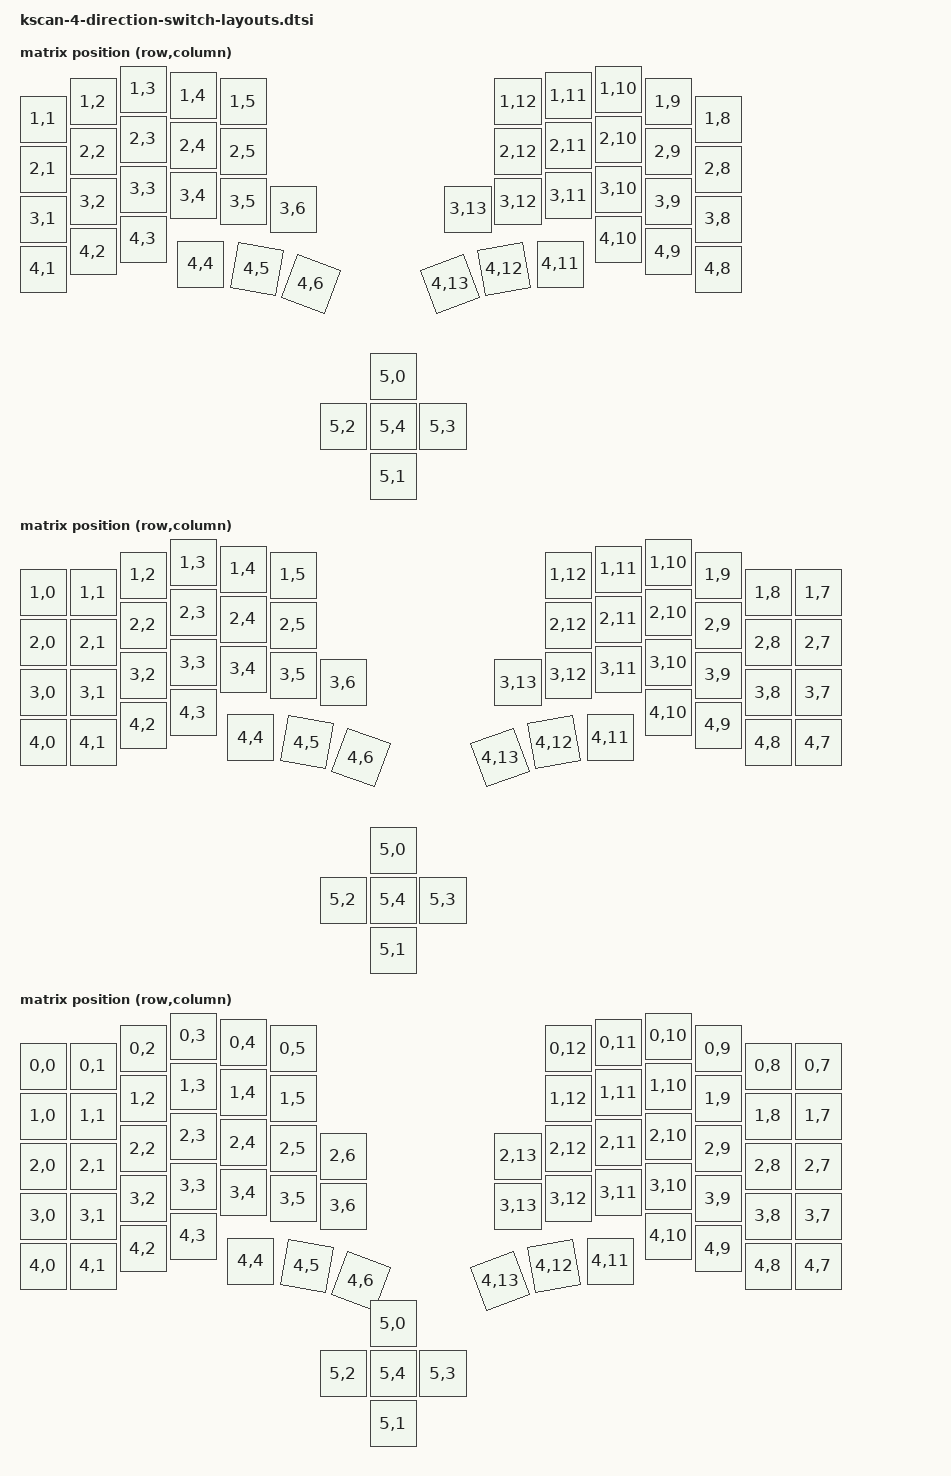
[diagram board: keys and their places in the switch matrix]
#include <physical_layouts.dtsi>
#include <dt-bindings/zmk/matrix_transform.h>

/ {
    size_s_4_direction_transform: size_s_4_direction_transform {
        compatible = "zmk,matrix-transform";
        columns = <14>;
        rows = <6>;
        map = <
            RC(1,1) RC(1,2) RC(1,3) RC(1,4) RC(1,5)                  RC(1,12) RC(1,11) RC(1,10) RC(1,9) RC(1,8)
            RC(2,1) RC(2,2) RC(2,3) RC(2,4) RC(2,5)                  RC(2,12) RC(2,11) RC(2,10) RC(2,9) RC(2,8)
            RC(3,1) RC(3,2) RC(3,3) RC(3,4) RC(3,5) RC(3,6) RC(3,13) RC(3,12) RC(3,11) RC(3,10) RC(3,9) RC(3,8)
            RC(4,1) RC(4,2) RC(4,3) RC(4,4) RC(4,5) RC(4,6) RC(4,13) RC(4,12) RC(4,11) RC(4,10) RC(4,9) RC(4,8)
            RC(5,0) RC(5,1) RC(5,2) RC(5,3) RC(5,4)
        >;
    };

    size_m_4_direction_transform: size_m_4_direction_transform {
        compatible = "zmk,matrix-transform";
        columns = <14>;
        rows = <6>;
        map = <
            RC(1,0) RC(1,1) RC(1,2) RC(1,3) RC(1,4) RC(1,5)                  RC(1,12) RC(1,11) RC(1,10) RC(1,9) RC(1,8) RC(1,7)
            RC(2,0) RC(2,1) RC(2,2) RC(2,3) RC(2,4) RC(2,5)                  RC(2,12) RC(2,11) RC(2,10) RC(2,9) RC(2,8) RC(2,7)
            RC(3,0) RC(3,1) RC(3,2) RC(3,3) RC(3,4) RC(3,5) RC(3,6) RC(3,13) RC(3,12) RC(3,11) RC(3,10) RC(3,9) RC(3,8) RC(3,7)
            RC(4,0) RC(4,1) RC(4,2) RC(4,3) RC(4,4) RC(4,5) RC(4,6) RC(4,13) RC(4,12) RC(4,11) RC(4,10) RC(4,9) RC(4,8) RC(4,7)
            RC(5,0) RC(5,1) RC(5,2) RC(5,3) RC(5,4)
        >;
    };

    size_l_4_direction_transform: size_l_4_direction_transform {
        compatible = "zmk,matrix-transform";
        columns = <14>;
        rows = <6>;
        map = <
            RC(0,0) RC(0,1) RC(0,2) RC(0,3) RC(0,4) RC(0,5)                  RC(0,12) RC(0,11) RC(0,10) RC(0,9) RC(0,8) RC(0,7)
            RC(1,0) RC(1,1) RC(1,2) RC(1,3) RC(1,4) RC(1,5)                  RC(1,12) RC(1,11) RC(1,10) RC(1,9) RC(1,8) RC(1,7)
            RC(2,0) RC(2,1) RC(2,2) RC(2,3) RC(2,4) RC(2,5) RC(2,6) RC(2,13) RC(2,12) RC(2,11) RC(2,10) RC(2,9) RC(2,8) RC(2,7)
            RC(3,0) RC(3,1) RC(3,2) RC(3,3) RC(3,4) RC(3,5) RC(3,6) RC(3,13) RC(3,12) RC(3,11) RC(3,10) RC(3,9) RC(3,8) RC(3,7)
            RC(4,0) RC(4,1) RC(4,2) RC(4,3) RC(4,4) RC(4,5) RC(4,6) RC(4,13) RC(4,12) RC(4,11) RC(4,10) RC(4,9) RC(4,8) RC(4,7)
            RC(5,0) RC(5,1) RC(5,2) RC(5,3) RC(5,4)
        >;
    };

    physical_layout_s_4_direction: physical_layout_s_4_direction {
        compatible = "zmk,physical-layout";
        display-name = "S Layout (with 4-direction switch)";
        kscan = <&kscan2>;
        transform = <&size_s_4_direction_transform>;
        keys  //                     w   h    x    y     rot    rx    ry
            = <&key_physical_attrs 100 100    0   60       0     0     0>
            , <&key_physical_attrs 100 100  100   25       0     0     0>
            , <&key_physical_attrs 100 100  200    0       0     0     0>
            , <&key_physical_attrs 100 100  300   13       0     0     0>
            , <&key_physical_attrs 100 100  400   25       0     0     0>
            , <&key_physical_attrs 100 100  950   25       0     0     0>
            , <&key_physical_attrs 100 100 1050   13       0     0     0>
            , <&key_physical_attrs 100 100 1150    0       0     0     0>
            , <&key_physical_attrs 100 100 1250   25       0     0     0>
            , <&key_physical_attrs 100 100 1350   60       0     0     0>
            , <&key_physical_attrs 100 100    0  160       0     0     0>
            , <&key_physical_attrs 100 100  100  125       0     0     0>
            , <&key_physical_attrs 100 100  200  100       0     0     0>
            , <&key_physical_attrs 100 100  300  113       0     0     0>
            , <&key_physical_attrs 100 100  400  125       0     0     0>
            , <&key_physical_attrs 100 100  950  125       0     0     0>
            , <&key_physical_attrs 100 100 1050  113       0     0     0>
            , <&key_physical_attrs 100 100 1150  100       0     0     0>
            , <&key_physical_attrs 100 100 1250  125       0     0     0>
            , <&key_physical_attrs 100 100 1350  160       0     0     0>
            , <&key_physical_attrs 100 100    0  260       0     0     0>
            , <&key_physical_attrs 100 100  100  225       0     0     0>
            , <&key_physical_attrs 100 100  200  200       0     0     0>
            , <&key_physical_attrs 100 100  300  213       0     0     0>
            , <&key_physical_attrs 100 100  400  225       0     0     0>
            , <&key_physical_attrs 100 100  500  240       0     0     0>
            , <&key_physical_attrs 100 100  850  240       0     0     0>
            , <&key_physical_attrs 100 100  950  225       0     0     0>
            , <&key_physical_attrs 100 100 1050  213       0     0     0>
            , <&key_physical_attrs 100 100 1150  200       0     0     0>
            , <&key_physical_attrs 100 100 1250  225       0     0     0>
            , <&key_physical_attrs 100 100 1350  260       0     0     0>
            , <&key_physical_attrs 100 100    0  360       0     0     0>
            , <&key_physical_attrs 100 100  100  325       0     0     0>
            , <&key_physical_attrs 100 100  200  300       0     0     0>
            , <&key_physical_attrs 100 100  315  350       0     0     0>
            , <&key_physical_attrs 100 100  420  350    1000   420   450>
            , <&key_physical_attrs 100 100  522  371    2000   525   470>
            , <&key_physical_attrs 100 100  828  371 (-2000)   925   470>
            , <&key_physical_attrs 100 100  930  350 (-1000)  1030   450>
            , <&key_physical_attrs 100 100 1035  350       0     0     0>
            , <&key_physical_attrs 100 100 1150  300       0     0     0>
            , <&key_physical_attrs 100 100 1250  325       0     0     0>
            , <&key_physical_attrs 100 100 1350  360       0     0     0>
            , <&key_physical_attrs 100 100  700  575       0     0     0>
            , <&key_physical_attrs 100 100  700  775       0     0     0>
            , <&key_physical_attrs 100 100  600  675       0     0     0>
            , <&key_physical_attrs 100 100  800  675       0     0     0>
            , <&key_physical_attrs 100 100  700  675       0     0     0>
            ;
    };

    physical_layout_m_4_direction: physical_layout_m_4_direction {
        compatible = "zmk,physical-layout";
        display-name = "M Layout (with 4-direction switch)";
        kscan = <&kscan2>;
        transform = <&size_m_4_direction_transform>;
        keys  //                     w   h    x    y     rot    rx    ry
            = <&key_physical_attrs 100 100    0   60       0     0     0>
            , <&key_physical_attrs 100 100  100   60       0     0     0>
            , <&key_physical_attrs 100 100  200   25       0     0     0>
            , <&key_physical_attrs 100 100  300    0       0     0     0>
            , <&key_physical_attrs 100 100  400   13       0     0     0>
            , <&key_physical_attrs 100 100  500   25       0     0     0>
            , <&key_physical_attrs 100 100 1050   25       0     0     0>
            , <&key_physical_attrs 100 100 1150   13       0     0     0>
            , <&key_physical_attrs 100 100 1250    0       0     0     0>
            , <&key_physical_attrs 100 100 1350   25       0     0     0>
            , <&key_physical_attrs 100 100 1450   60       0     0     0>
            , <&key_physical_attrs 100 100 1550   60       0     0     0>
            , <&key_physical_attrs 100 100    0  160       0     0     0>
            , <&key_physical_attrs 100 100  100  160       0     0     0>
            , <&key_physical_attrs 100 100  200  125       0     0     0>
            , <&key_physical_attrs 100 100  300  100       0     0     0>
            , <&key_physical_attrs 100 100  400  113       0     0     0>
            , <&key_physical_attrs 100 100  500  125       0     0     0>
            , <&key_physical_attrs 100 100 1050  125       0     0     0>
            , <&key_physical_attrs 100 100 1150  113       0     0     0>
            , <&key_physical_attrs 100 100 1250  100       0     0     0>
            , <&key_physical_attrs 100 100 1350  125       0     0     0>
            , <&key_physical_attrs 100 100 1450  160       0     0     0>
            , <&key_physical_attrs 100 100 1550  160       0     0     0>
            , <&key_physical_attrs 100 100    0  260       0     0     0>
            , <&key_physical_attrs 100 100  100  260       0     0     0>
            , <&key_physical_attrs 100 100  200  225       0     0     0>
            , <&key_physical_attrs 100 100  300  200       0     0     0>
            , <&key_physical_attrs 100 100  400  213       0     0     0>
            , <&key_physical_attrs 100 100  500  225       0     0     0>
            , <&key_physical_attrs 100 100  600  240       0     0     0>
            , <&key_physical_attrs 100 100  950  240       0     0     0>
            , <&key_physical_attrs 100 100 1050  225       0     0     0>
            , <&key_physical_attrs 100 100 1150  213       0     0     0>
            , <&key_physical_attrs 100 100 1250  200       0     0     0>
            , <&key_physical_attrs 100 100 1350  225       0     0     0>
            , <&key_physical_attrs 100 100 1450  260       0     0     0>
            , <&key_physical_attrs 100 100 1550  260       0     0     0>
            , <&key_physical_attrs 100 100    0  360       0     0     0>
            , <&key_physical_attrs 100 100  100  360       0     0     0>
            , <&key_physical_attrs 100 100  200  325       0     0     0>
            , <&key_physical_attrs 100 100  300  300       0     0     0>
            , <&key_physical_attrs 100 100  415  350       0     0     0>
            , <&key_physical_attrs 100 100  520  350    1000   520   450>
            , <&key_physical_attrs 100 100  622  371    2000   625   470>
            , <&key_physical_attrs 100 100  928  371 (-2000)  1025   470>
            , <&key_physical_attrs 100 100 1030  350 (-1000)  1130   450>
            , <&key_physical_attrs 100 100 1135  350       0     0     0>
            , <&key_physical_attrs 100 100 1250  300       0     0     0>
            , <&key_physical_attrs 100 100 1350  325       0     0     0>
            , <&key_physical_attrs 100 100 1450  360       0     0     0>
            , <&key_physical_attrs 100 100 1550  360       0     0     0>
            , <&key_physical_attrs 100 100  700  575       0     0     0>
            , <&key_physical_attrs 100 100  700  775       0     0     0>
            , <&key_physical_attrs 100 100  600  675       0     0     0>
            , <&key_physical_attrs 100 100  800  675       0     0     0>
            , <&key_physical_attrs 100 100  700  675       0     0     0>
            ;
    };

    physical_layout_l_4_direction: physical_layout_l_4_direction {
        compatible = "zmk,physical-layout";
        display-name = "L Layout (with 4-direction switch)";
        kscan = <&kscan2>;
        transform = <&size_l_4_direction_transform>;
        keys  //                     w   h    x    y     rot    rx    ry
            = <&key_physical_attrs 100 100    0   60       0     0     0>
            , <&key_physical_attrs 100 100  100   60       0     0     0>
            , <&key_physical_attrs 100 100  200   25       0     0     0>
            , <&key_physical_attrs 100 100  300    0       0     0     0>
            , <&key_physical_attrs 100 100  400   13       0     0     0>
            , <&key_physical_attrs 100 100  500   25       0     0     0>
            , <&key_physical_attrs 100 100 1050   25       0     0     0>
            , <&key_physical_attrs 100 100 1150   13       0     0     0>
            , <&key_physical_attrs 100 100 1250    0       0     0     0>
            , <&key_physical_attrs 100 100 1350   25       0     0     0>
            , <&key_physical_attrs 100 100 1450   60       0     0     0>
            , <&key_physical_attrs 100 100 1550   60       0     0     0>
            , <&key_physical_attrs 100 100    0  160       0     0     0>
            , <&key_physical_attrs 100 100  100  160       0     0     0>
            , <&key_physical_attrs 100 100  200  125       0     0     0>
            , <&key_physical_attrs 100 100  300  100       0     0     0>
            , <&key_physical_attrs 100 100  400  113       0     0     0>
            , <&key_physical_attrs 100 100  500  125       0     0     0>
            , <&key_physical_attrs 100 100 1050  125       0     0     0>
            , <&key_physical_attrs 100 100 1150  113       0     0     0>
            , <&key_physical_attrs 100 100 1250  100       0     0     0>
            , <&key_physical_attrs 100 100 1350  125       0     0     0>
            , <&key_physical_attrs 100 100 1450  160       0     0     0>
            , <&key_physical_attrs 100 100 1550  160       0     0     0>
            , <&key_physical_attrs 100 100    0  260       0     0     0>
            , <&key_physical_attrs 100 100  100  260       0     0     0>
            , <&key_physical_attrs 100 100  200  225       0     0     0>
            , <&key_physical_attrs 100 100  300  200       0     0     0>
            , <&key_physical_attrs 100 100  400  213       0     0     0>
            , <&key_physical_attrs 100 100  500  225       0     0     0>
            , <&key_physical_attrs 100 100  600  240       0     0     0>
            , <&key_physical_attrs 100 100  950  240       0     0     0>
            , <&key_physical_attrs 100 100 1050  225       0     0     0>
            , <&key_physical_attrs 100 100 1150  213       0     0     0>
            , <&key_physical_attrs 100 100 1250  200       0     0     0>
            , <&key_physical_attrs 100 100 1350  225       0     0     0>
            , <&key_physical_attrs 100 100 1450  260       0     0     0>
            , <&key_physical_attrs 100 100 1550  260       0     0     0>
            , <&key_physical_attrs 100 100    0  360       0     0     0>
            , <&key_physical_attrs 100 100  100  360       0     0     0>
            , <&key_physical_attrs 100 100  200  325       0     0     0>
            , <&key_physical_attrs 100 100  300  300       0     0     0>
            , <&key_physical_attrs 100 100  400  313       0     0     0>
            , <&key_physical_attrs 100 100  500  325       0     0     0>
            , <&key_physical_attrs 100 100  600  340       0     0     0>
            , <&key_physical_attrs 100 100  950  340       0     0     0>
            , <&key_physical_attrs 100 100 1050  325       0     0     0>
            , <&key_physical_attrs 100 100 1150  313       0     0     0>
            , <&key_physical_attrs 100 100 1250  300       0     0     0>
            , <&key_physical_attrs 100 100 1350  325       0     0     0>
            , <&key_physical_attrs 100 100 1450  360       0     0     0>
            , <&key_physical_attrs 100 100 1550  360       0     0     0>
            , <&key_physical_attrs 100 100    0  460       0     0     0>
            , <&key_physical_attrs 100 100  100  460       0     0     0>
            , <&key_physical_attrs 100 100  200  425       0     0     0>
            , <&key_physical_attrs 100 100  300  400       0     0     0>
            , <&key_physical_attrs 100 100  415  450       0     0     0>
            , <&key_physical_attrs 100 100  520  450    1000   520   550>
            , <&key_physical_attrs 100 100  622  471    2000   625   570>
            , <&key_physical_attrs 100 100  928  471 (-2000)  1025   570>
            , <&key_physical_attrs 100 100 1030  450 (-1000)  1130   550>
            , <&key_physical_attrs 100 100 1135  450       0     0     0>
            , <&key_physical_attrs 100 100 1250  400       0     0     0>
            , <&key_physical_attrs 100 100 1350  425       0     0     0>
            , <&key_physical_attrs 100 100 1450  460       0     0     0>
            , <&key_physical_attrs 100 100 1550  460       0     0     0>
            , <&key_physical_attrs 100 100  700  575       0     0     0>
            , <&key_physical_attrs 100 100  700  775       0     0     0>
            , <&key_physical_attrs 100 100  600  675       0     0     0>
            , <&key_physical_attrs 100 100  800  675       0     0     0>
            , <&key_physical_attrs 100 100  700  675       0     0     0>
            ;
    };

    /delete-node/ position_map_1;
    position_map_1 {
        compatible = "zmk,physical-layout-position-map";
        complete;
        position_map_s_1 {
            physical-layout = <&physical_layout_s_4_direction>;
            positions = <
                49 50 51 52 53 54       55 56 57 58 59 60
                61 0  1  2  3  4        5  6  7  8  9  62
                63 10 11 12 13 14 69 70 15 16 17 18 19 64
                65 20 21 22 23 24 25 26 27 28 29 30 31 66
                67 32 33 34 35 36 37 38 39 40 41 42 43 68
                44 45 46 47 48
            >;
        };
        position_map_m_1 {
            physical-layout = <&physical_layout_m_4_direction>;
            positions = <
                57 58 59 60 61 62       63 64 65 66 67 68
                0  1  2  3  4  5        6  7  8  9  10 11
                12 13 14 15 16 17 69 70 18 19 20 21 22 23
                24 25 26 27 28 29 30 31 32 33 34 35 36 37
                38 39 40 41 42 43 44 45 46 47 48 49 50 51
                52 53 54 55 56
            >;
        };
        position_map_l_1 {
            physical-layout = <&physical_layout_l_4_direction>;
            positions = <
                0  1  2  3  4  5        6  7  8  9  10 11
                12 13 14 15 16 17       18 19 20 21 22 23
                24 25 26 27 28 29 30 31 32 33 34 35 36 37
                38 39 40 41 42 43 44 45 46 47 48 49 50 51
                52 53 54 55 56 57 58 59 60 61 62 63 64 65
                66 67 68 69 70
            >;
        };
    };
};

&physical_layout_s {
    status = "disabled";
};

&physical_layout_m {
    status = "disabled";
};

&physical_layout_l {
    status = "disabled";
};
